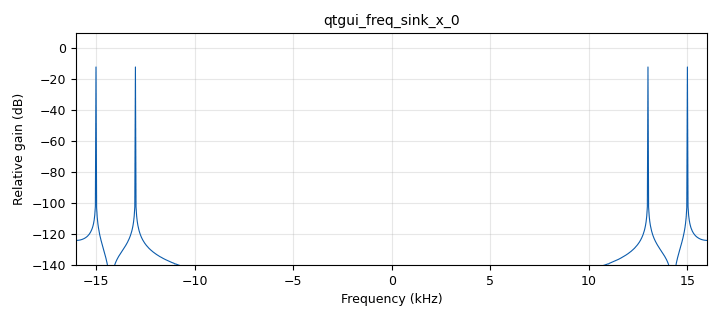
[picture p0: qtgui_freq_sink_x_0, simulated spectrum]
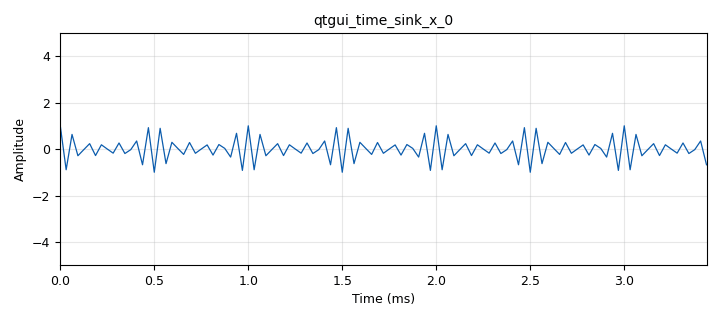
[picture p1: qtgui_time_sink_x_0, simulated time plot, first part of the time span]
<?xml version='1.0' encoding='utf-8'?>
<?grc format='1' created='3.7.9'?>
<flow_graph>
<block>
<key>options</key>
<param><key>id</key><value>top_block</value></param>
<param><key>category</key><value>Custom</value></param>
<param><key>generate_options</key><value>qt_gui</value></param>
</block>
<block>
<key>variable_qtgui_range</key>
<param><key>id</key><value>f_1</value></param>
<param><key>value</key><value>1000</value></param>
<param><key>orient</key><value>Qt.Horizontal</value></param>
<param><key>start</key><value>0</value></param>
<param><key>step</key><value>500</value></param>
<param><key>stop</key><value>20000</value></param>
</block>
<block>
<key>variable_qtgui_range</key>
<param><key>id</key><value>f_2</value></param>
<param><key>value</key><value>14000</value></param>
<param><key>orient</key><value>Qt.Horizontal</value></param>
<param><key>start</key><value>0</value></param>
<param><key>step</key><value>500</value></param>
<param><key>stop</key><value>20000</value></param>
</block>
<block>
<key>variable</key>
<param><key>id</key><value>samp_rate</value></param>
<param><key>value</key><value>32000</value></param>
</block>
<block>
<key>qtgui_tab_widget</key>
<param><key>id</key><value>aba</value></param>
<param><key>label0</key><value>Osciloscopio</value></param>
<param><key>label1</key><value>Analisador de Espectro</value></param>
<param><key>num_tabs</key><value>2</value></param>
</block>
<block>
<key>analog_sig_source_x</key>
<param><key>id</key><value>analog_sig_source_x_0</value></param>
<param><key>amp</key><value>1</value></param>
<param><key>freq</key><value>f_1</value></param>
<param><key>offset</key><value>0</value></param>
<param><key>type</key><value>float</value></param>
<param><key>samp_rate</key><value>samp_rate</value></param>
<param><key>waveform</key><value>analog.GR_COS_WAVE</value></param>
</block>
<block>
<key>analog_sig_source_x</key>
<param><key>id</key><value>analog_sig_source_x_0_0</value></param>
<param><key>amp</key><value>1</value></param>
<param><key>freq</key><value>f_2</value></param>
<param><key>offset</key><value>0</value></param>
<param><key>type</key><value>float</value></param>
<param><key>samp_rate</key><value>samp_rate</value></param>
<param><key>waveform</key><value>analog.GR_COS_WAVE</value></param>
</block>
<block>
<key>blocks_multiply_xx</key>
<param><key>id</key><value>blocks_multiply_xx_0</value></param>
<param><key>type</key><value>float</value></param>
</block>
<block>
<key>qtgui_freq_sink_x</key>
<param><key>id</key><value>qtgui_freq_sink_x_0</value></param>
<param><key>bw</key><value>samp_rate</value></param>
<param><key>fc</key><value>0</value></param>
<param><key>ctrlpanel</key><value>True</value></param>
<param><key>fftsize</key><value>1024</value></param>
<param><key>gui_hint</key><value>aba@1</value></param>
<param><key>showports</key><value>True</value></param>
<param><key>type</key><value>float</value></param>
<param><key>wintype</key><value>firdes.WIN_RECTANGULAR</value></param>
</block>
<block>
<key>qtgui_time_sink_x</key>
<param><key>id</key><value>qtgui_time_sink_x_0</value></param>
<param><key>ctrlpanel</key><value>True</value></param>
<param><key>gui_hint</key><value>aba@0</value></param>
<param><key>grid</key><value>True</value></param>
<param><key>color1</key><value>"blue"</value></param>
<param><key>label1</key><value></value></param>
<param><key>size</key><value>1024</value></param>
<param><key>srate</key><value>samp_rate</value></param>
<param><key>type</key><value>float</value></param>
<param><key>ymax</key><value>5</value></param>
<param><key>ymin</key><value>-5</value></param>
</block>
<connection><source_block_id>analog_sig_source_x_0</source_block_id><sink_block_id>blocks_multiply_xx_0</sink_block_id><source_key>0</source_key><sink_key>0</sink_key></connection>
<connection><source_block_id>analog_sig_source_x_0_0</source_block_id><sink_block_id>blocks_multiply_xx_0</sink_block_id><source_key>0</source_key><sink_key>1</sink_key></connection>
<connection><source_block_id>blocks_multiply_xx_0</source_block_id><sink_block_id>qtgui_freq_sink_x_0</sink_block_id><source_key>0</source_key><sink_key>0</sink_key></connection>
<connection><source_block_id>blocks_multiply_xx_0</source_block_id><sink_block_id>qtgui_time_sink_x_0</sink_block_id><source_key>0</source_key><sink_key>0</sink_key></connection>
</flow_graph>
